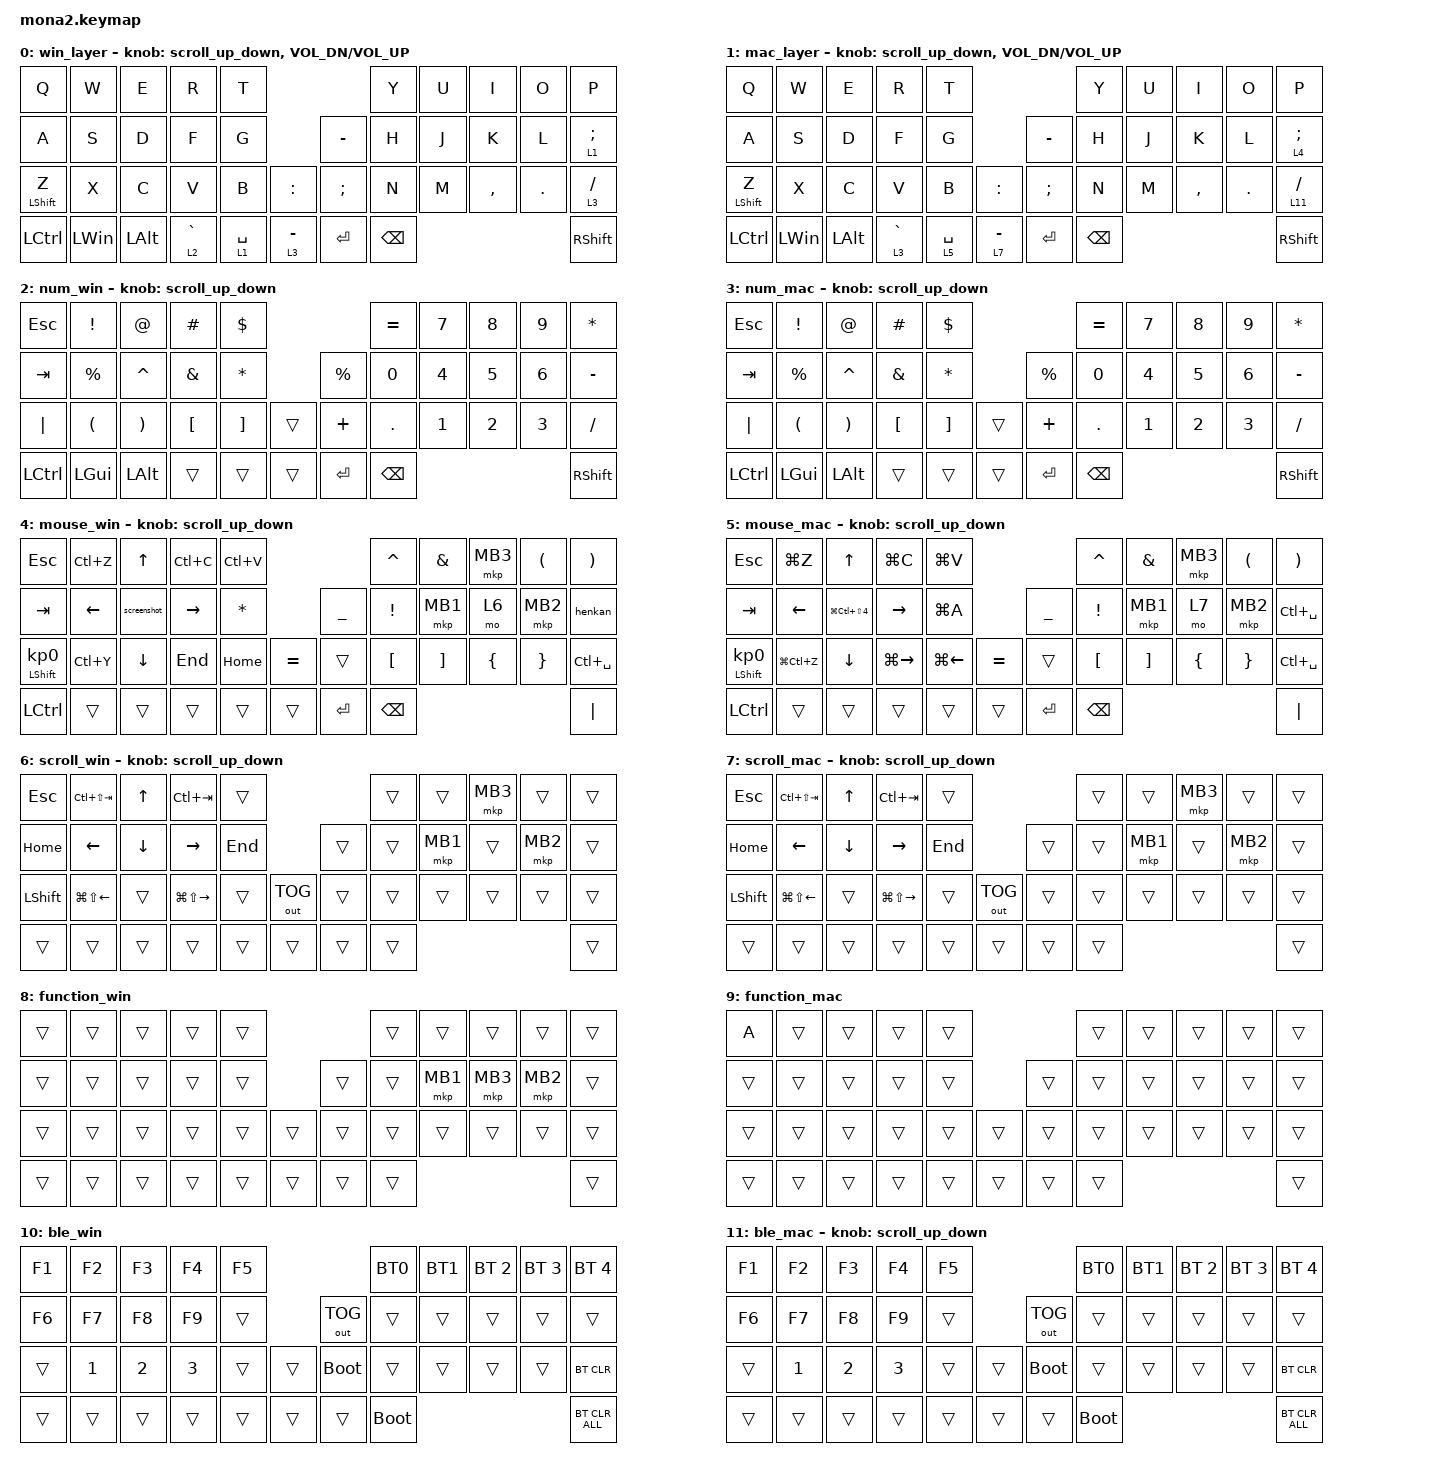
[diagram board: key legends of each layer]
#include <input/processors.dtsi>
#include <dt-bindings/zmk/input_transform.h>
#include <zephyr/dt-bindings/input/input-event-codes.h>
#include <behaviors.dtsi>
#include <dt-bindings/zmk/bt.h>
#include <dt-bindings/zmk/keys.h>
#include <dt-bindings/zmk/pointing.h>
/* ZMK Layout Shift Module */
#include <layout_shift_kp_override.dtsi>

#define ZMK_POINTING_DEFAULT_SCRL_VAL 100
#define MOUSE 5
#define SCROLL 6

&mt {
    flavor = "balanced";
    quick-tap-ms = <0>;
};

&lt {
    quick-tap-ms = <300>;
    flavor = "balanced";
};

/ {
    combos {
        compatible = "zmk,combos";

        layer4_ESC {
            bindings = <&lt 4 ESC>;
            key-positions = <39 38>;
        };

        tab {
            bindings = <&kp TAB>;
            key-positions = <11 12>;
        };
    };

    macros {
        to_layer_0: to_layer_0 {
            compatible = "zmk,behavior-macro-one-param";
            #binding-cells = <1>;
            bindings = <&to 0 &macro_param_1to1 &kp MACRO_PLACEHOLDER>;
            label = "TO_LAYER_0";
        };
    };

    behaviors {
        lt_to_layer_0: lt_to_layer_0 {
            compatible = "zmk,behavior-hold-tap";
            label = "LAYER_TAP_TO_0";
            bindings = <&mo>, <&to_layer_0>;

            #binding-cells = <2>;
            tapping-term-ms = <200>;
        };

        scroll_up_down: mouse_wheel_up_down {
            compatible = "zmk,behavior-sensor-rotate";
            #sensor-binding-cells = <0>;
            bindings = <&msc SCRL_DOWN>, <&msc SCRL_UP>;

            tap-ms = <20>;
        };

        scroll_right_left: mouse_wheel_right_left {
            compatible = "zmk,behavior-sensor-rotate";
            #sensor-binding-cells = <0>;
            bindings = <&msc SCRL_LEFT>, <&msc SCRL_RIGHT>;

            tap-ms = <20>;
        };
    };

    keymap {
        compatible = "zmk,keymap";

        win_layer {
            bindings = <
&kp Q             &kp W         &kp E         &kp R        &kp T                                      &kp Y          &kp U  &kp I      &kp O    &kp P
&kp A             &kp S         &kp D         &kp F        &kp G                       &kp MINUS      &kp H          &kp J  &kp K      &kp L    &lt 1 SEMICOLON
&mt LEFT_SHIFT Z  &kp X         &kp C         &kp V        &kp B        &kp COLON      &kp SEMICOLON  &kp N          &kp M  &kp COMMA  &kp DOT  &lt 3 SLASH
&kp LCTRL         &kp LEFT_WIN  &kp LEFT_ALT  &lt 2 GRAVE  &lt 1 SPACE  &lt 3 MINUS    &kp ENTER      &kp BACKSPACE                             &kp RIGHT_SHIFT
            >;

            sensor-bindings =
                <&scroll_up_down>,
                <&inc_dec_kp C_VOL_DN C_VOL_UP>;
        };


                mac_layer {
            bindings = <
&kp Q             &kp W         &kp E         &kp R        &kp T                                      &kp Y          &kp U  &kp I      &kp O    &kp P
&kp A             &kp S         &kp D         &kp F        &kp G                       &kp MINUS      &kp H          &kp J  &kp K      &kp L    &lt 4 SEMICOLON
&mt LEFT_SHIFT Z  &kp X         &kp C         &kp V        &kp B        &kp COLON      &kp SEMICOLON  &kp N          &kp M  &kp COMMA  &kp DOT  &lt 11 SLASH
&kp LCTRL         &kp LEFT_WIN  &kp LEFT_ALT  &lt 3 GRAVE  &lt 5 SPACE  &lt 7 MINUS    &kp ENTER      &kp BACKSPACE                             &kp RIGHT_SHIFT
            >;

            sensor-bindings =
                <&scroll_up_down>,
                <&inc_dec_kp C_VOL_DN C_VOL_UP>;
        };

        num_win {
            bindings = <
&kp ESCAPE  &kp EXCLAMATION       &kp AT_SIGN            &kp HASH          &kp DOLLAR                                &kp EQUAL      &kp NUMBER_7  &kp NUMBER_8  &kp NUMBER_9  &kp ASTERISK
&kp TAB     &kp PERCENT           &kp CARET              &kp AMPERSAND     &kp ASTERISK                 &kp PERCENT  &kp NUMBER_0   &kp NUMBER_4  &kp NUMBER_5  &kp NUMBER_6  &kp MINUS
&kp PIPE    &kp LEFT_PARENTHESIS  &kp RIGHT_PARENTHESIS  &kp LEFT_BRACKET  &kp RIGHT_BRACKET  &trans    &kp PLUS     &kp DOT        &kp NUMBER_1  &kp NUMBER_2  &kp NUMBER_3  &kp SLASH
&kp LCTRL   &kp LEFT_GUI          &kp LEFT_ALT           &trans            &trans             &trans    &kp ENTER    &kp BACKSPACE                                            &kp RIGHT_SHIFT
            >;

            sensor-bindings = <&scroll_up_down>;
        };

        num_mac {
            bindings = <
&kp ESCAPE  &kp EXCLAMATION       &kp AT_SIGN            &kp HASH          &kp DOLLAR                                &kp EQUAL      &kp NUMBER_7  &kp NUMBER_8  &kp NUMBER_9  &kp ASTERISK
&kp TAB     &kp PERCENT           &kp CARET              &kp AMPERSAND     &kp ASTERISK                 &kp PERCENT  &kp NUMBER_0   &kp NUMBER_4  &kp NUMBER_5  &kp NUMBER_6  &kp MINUS
&kp PIPE    &kp LEFT_PARENTHESIS  &kp RIGHT_PARENTHESIS  &kp LEFT_BRACKET  &kp RIGHT_BRACKET  &trans    &kp PLUS     &kp DOT        &kp NUMBER_1  &kp NUMBER_2  &kp NUMBER_3  &kp SLASH
&kp LCTRL   &kp LEFT_GUI          &kp LEFT_ALT           &trans            &trans             &trans    &kp ENTER    &kp BACKSPACE                                            &kp RIGHT_SHIFT
            >;

            sensor-bindings = <&scroll_up_down>;
        };

        mouse_win {
            bindings = <
&kp ESCAPE                  &kp LC(Z)       &kp UP_ARROW    &kp LC(C)        &kp LC(V)                                  &kp CARET         &kp AMPERSAND      &mkp MB3        &kp LEFT_PARENTHESIS  &kp RIGHT_PARENTHESIS
&kp TAB                     &kp LEFT_ARROW  &screenshot     &kp RIGHT_ARROW  &kp ASTERISK               &kp UNDERSCORE  &kp EXCLAMATION   &mkp MB1           &mo 6           &mkp MB2              &henkan
&mt LEFT_SHIFT KP_NUMBER_0  &kp LC(Y)       &kp DOWN_ARROW  &kp END          &kp HOME      &kp EQUAL    &trans          &kp LEFT_BRACKET  &kp RIGHT_BRACKET  &kp LEFT_BRACE  &kp RIGHT_BRACE       &kp LC(SPACE)
&kp LCTRL                   &trans          &trans          &trans           &trans        &trans       &kp ENTER       &kp BACKSPACE                                                              &kp PIPE
            >;

            sensor-bindings = <&scroll_up_down>;
        };

        mouse_mac {
            bindings = <
&kp ESCAPE                  &kp LG(Z)       &kp UP_ARROW              &kp LG(C)        &kp LG(V)                                  &kp CARET         &kp AMPERSAND      &mkp MB3        &kp LEFT_PARENTHESIS  &kp RIGHT_PARENTHESIS
&kp TAB                     &kp LEFT_ARROW  &kp LG(LC(LS(NUMBER_4)))  &kp RIGHT_ARROW  &kp LG(A)                  &kp UNDERSCORE  &kp EXCLAMATION   &mkp MB1           &mo 7           &mkp MB2              &kp LC(SPACE)
&mt LEFT_SHIFT KP_NUMBER_0  &kp LG(LC(Z))   &kp DOWN_ARROW            &kp LG(RIGHT)    &kp LG(LEFT)  &kp EQUAL    &trans          &kp LEFT_BRACKET  &kp RIGHT_BRACKET  &kp LEFT_BRACE  &kp RIGHT_BRACE       &kp LC(SPACE)
&kp LCTRL                   &trans          &trans                    &trans           &trans        &trans       &kp ENTER       &kp BACKSPACE                                                              &kp PIPE
            >;

            sensor-bindings = <&scroll_up_down>;
        };

        scroll_win {
            bindings = <
&kp ESCAPE      &kp LC(LS(TAB))         &kp UP_ARROW    &kp LC(TAB)              &trans                           &trans  &trans    &mkp MB3  &trans    &trans
&kp HOME        &kp LEFT_ARROW          &kp DOWN_ARROW  &kp RIGHT_ARROW          &kp END                  &trans  &trans  &mkp MB1  &trans    &mkp MB2  &trans
&kp LEFT_SHIFT  &kp LG(LS(LEFT_ARROW))  &trans          &kp LG(LS(RIGHT_ARROW))  &trans   &out OUT_TOG    &trans  &trans  &trans    &trans    &trans    &trans
&trans          &trans                  &trans          &trans                   &trans   &trans          &trans  &trans                                &trans
            >;

            sensor-bindings = <&scroll_up_down>;
        };

        scroll_mac {
            bindings = <
&kp ESCAPE      &kp LC(LS(TAB))         &kp UP_ARROW    &kp LC(TAB)              &trans                           &trans  &trans    &mkp MB3  &trans    &trans
&kp HOME        &kp LEFT_ARROW          &kp DOWN_ARROW  &kp RIGHT_ARROW          &kp END                  &trans  &trans  &mkp MB1  &trans    &mkp MB2  &trans
&kp LEFT_SHIFT  &kp LG(LS(LEFT_ARROW))  &trans          &kp LG(LS(RIGHT_ARROW))  &trans   &out OUT_TOG    &trans  &trans  &trans    &trans    &trans    &trans
&trans          &trans                  &trans          &trans                   &trans   &trans          &trans  &trans                                &trans
            >;

            sensor-bindings = <&scroll_up_down>;
        };

        function_win {
            bindings = <
&trans  &trans  &trans  &trans  &trans                    &trans  &trans    &trans    &trans    &trans
&trans  &trans  &trans  &trans  &trans            &trans  &trans  &mkp MB1  &mkp MB3  &mkp MB2  &trans
&trans  &trans  &trans  &trans  &trans  &trans    &trans  &trans  &trans    &trans    &trans    &trans
&trans  &trans  &trans  &trans  &trans  &trans    &trans  &trans                                &trans
            >;
        };

        function_mac {
            bindings = <
&kp A   &trans  &trans  &trans  &trans                    &trans  &trans  &trans  &trans  &trans
&trans  &trans  &trans  &trans  &trans            &trans  &trans  &trans  &trans  &trans  &trans
&trans  &trans  &trans  &trans  &trans  &trans    &trans  &trans  &trans  &trans  &trans  &trans
&trans  &trans  &trans  &trans  &trans  &trans    &trans  &trans                          &trans
            >;
        };

        ble_win {
            bindings = <
&kp F1  &kp F2        &kp F3        &kp F4        &kp F5                          &BT0         &BT1    &bt BT_SEL 2  &bt BT_SEL 3  &bt BT_SEL 4
&kp F6  &kp F7        &kp F8        &kp F9        &trans            &out OUT_TOG  &trans       &trans  &trans        &trans        &trans
&trans  &kp NUMBER_1  &kp NUMBER_2  &kp NUMBER_3  &trans  &trans    &bootloader   &trans       &trans  &trans        &trans        &bt BT_CLR
&trans  &trans        &trans        &trans        &trans  &trans    &trans        &bootloader                                      &bt BT_CLR_ALL
            >;
        };

        ble_mac {
            bindings = <
&kp F1  &kp F2        &kp F3        &kp F4        &kp F5                          &BT0         &BT1    &bt BT_SEL 2  &bt BT_SEL 3  &bt BT_SEL 4
&kp F6  &kp F7        &kp F8        &kp F9        &trans            &out OUT_TOG  &trans       &trans  &trans        &trans        &trans
&trans  &kp NUMBER_1  &kp NUMBER_2  &kp NUMBER_3  &trans  &trans    &bootloader   &trans       &trans  &trans        &trans        &bt BT_CLR
&trans  &trans        &trans        &trans        &trans  &trans    &trans        &bootloader                                      &bt BT_CLR_ALL
            >;

            sensor-bindings = <&scroll_up_down>;
        };
    };
};
